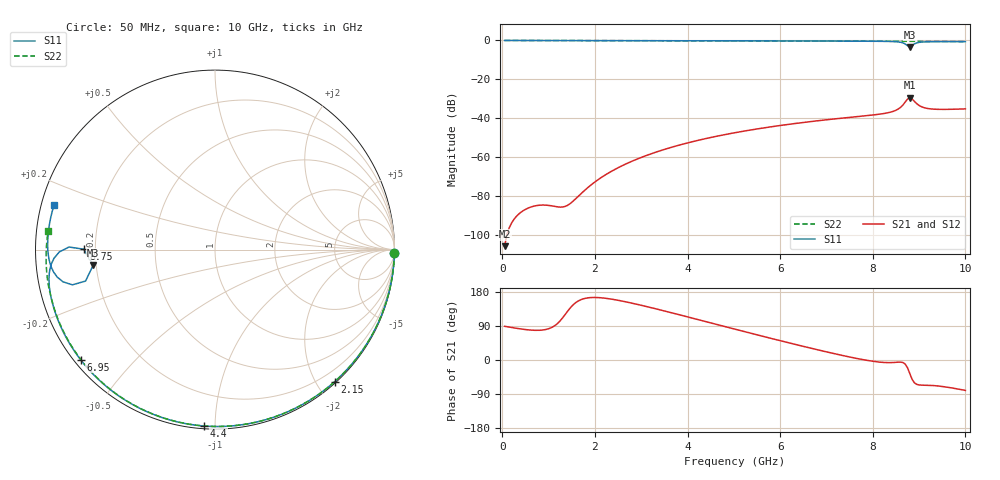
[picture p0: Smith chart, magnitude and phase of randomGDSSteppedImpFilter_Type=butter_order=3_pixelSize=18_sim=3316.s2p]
! freq	dB(S11)	phase(S11)	dB(S12)	phase(S12)
!  dB(S21)	phase(S21)	dB(S22)	phase(S22)
!S-par simulation data
#  GHz  S  DB  R 50
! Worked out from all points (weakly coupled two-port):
!   200 points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, 50 MHz to 10 GHz, reference 50 ohm
!   highest |S21| = -29.44 dB at 8.8 GHz (marker M1); lowest = -105.7 dB at 50 MHz (marker M2)
!   lowest |S11| = -3.3 dB at 8.8 GHz (marker M3), VSWR 5.33, Z = 9.42 - j3.05 ohm
!   |S11| at or under -10 dB: nowhere
!   |S22| runs from -0.6 to 0.0 dB; largest |S21 - S12| = 0
!   S11 on the Smith chart (normalised r, x): 50 MHz: open; 2.15 GHz: 0.02, -2.26; 4.4 GHz: 0.01, -0.94; 6.95 GHz: 0.02, -0.36; 8.75 GHz: 0.16, +0.00; 10 GHz: 0.04, +0.13
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0.05  -0.00 -1.1  -105.75 88.9  -105.75 88.9  -0.00 -1.1
0.8  -0.02 -18.1  -84.70 78.4  -84.70 78.4  -0.02 -17.4
1.6  -0.05 -35.9  -81.04 152.6  -81.04 152.6  -0.04 -34.6
1.65  -0.05 -37.0  -79.90 156.4  -79.90 156.4  -0.05 -35.6
1.75  -0.05 -39.2  -77.67 161.4  -77.67 161.4  -0.05 -37.7
2.15  -0.06 -47.8  -70.25 164.0  -70.25 164.0  -0.06 -46.0
2.7  -0.08 -59.5  -63.13 152.7  -63.13 152.7  -0.07 -57.2
3.4  -0.10 -73.8  -56.76 132.5  -56.76 132.5  -0.09 -71.0
4.4  -0.13 -93.5  -50.40 101.1  -50.40 101.1  -0.13 -89.9
5.05  -0.16 -105.8  -47.31 80.5  -47.31 80.5  -0.16 -101.6
6.7  -0.26 -136.1  -41.59 30.1  -41.59 30.1  -0.25 -130.1
6.95  -0.28 -140.7  -40.91 22.9  -40.91 22.9  -0.27 -134.3
8.35  -0.51 -168.7  -37.06 -7.0  -37.06 -7.0  -0.39 -157.7
8.6  -0.93 -176.9  -34.38 -5.6  -34.38 -5.6  -0.42 -162.0
8.7  -1.79 179.0  -31.71 -10.7  -31.71 -10.7  -0.44 -163.6
8.75  -2.72 179.8  -30.17 -20.4  -30.17 -20.4  -0.44 -164.4
8.8  -3.30 -172.8  -29.44 -36.2  -29.44 -36.2  -0.44 -165.3
8.85  -2.59 -166.3  -30.07 -51.2  -30.07 -51.2  -0.44 -166.1
8.9  -1.74 -166.1  -31.33 -60.2  -31.33 -60.2  -0.44 -167.0
9  -0.99 -170.1  -33.40 -65.9  -33.40 -65.9  -0.46 -168.8
9.15  -0.70 -175.4  -34.81 -66.6  -34.81 -66.6  -0.47 -171.4
10  -0.62 164.7  -35.17 -80.3  -35.17 -80.3  -0.58 173.6
